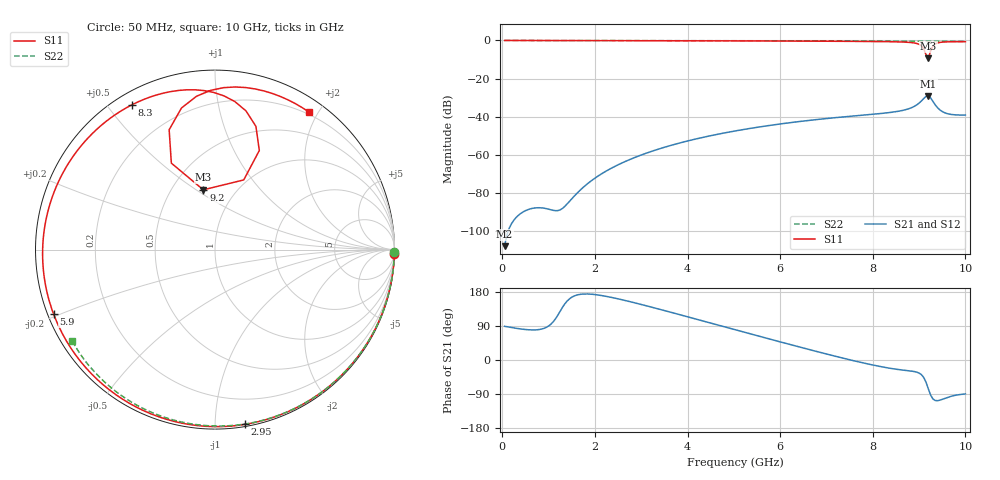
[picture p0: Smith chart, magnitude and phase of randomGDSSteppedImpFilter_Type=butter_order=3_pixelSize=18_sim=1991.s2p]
! freq	dB(S11)	phase(S11)	dB(S12)	phase(S12)
!  dB(S21)	phase(S21)	dB(S22)	phase(S22)
!S-par simulation data
#  GHz  S  DB  R 50
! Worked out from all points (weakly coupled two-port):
!   200 points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, 50 MHz to 10 GHz, reference 50 ohm
!   highest |S21| = -29.08 dB at 9.2 GHz (marker M1); lowest = -107.9 dB at 50 MHz (marker M2)
!   lowest |S11| = -9.4 dB at 9.2 GHz (marker M3), VSWR 2.03, Z = 35.5 + j26.7 ohm
!   |S11| at or under -10 dB: nowhere
!   |S22| runs from -0.5 to 0.0 dB; largest |S21 - S12| = 0
!   S11 on the Smith chart (normalised r, x): 50 MHz: 0, -81; 2.95 GHz: 0.01, -1.19; 5.9 GHz: 0.02, -0.19; 8.3 GHz: 0.05, +0.58; 9.2 GHz: 0.71, +0.53; 10 GHz: 0.17, +1.88
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0.05  -0.00 -1.4  -107.93 88.9  -107.93 88.9  -0.00 -0.9
0.8  -0.03 -22.3  -87.77 80.5  -87.77 80.5  -0.02 -13.6
1.6  -0.06 -44.3  -80.49 171.1  -80.49 171.1  -0.03 -27.1
1.75  -0.06 -48.3  -77.00 174.1  -77.00 174.1  -0.04 -29.6
2.25  -0.08 -61.7  -68.43 167.8  -68.43 167.8  -0.05 -37.8
2.95  -0.10 -80.2  -60.55 148.1  -60.55 148.1  -0.06 -49.0
3.4  -0.12 -91.9  -56.79 133.8  -56.79 133.8  -0.07 -56.1
4.2  -0.16 -112.7  -51.58 107.4  -51.58 107.4  -0.10 -68.4
5.05  -0.21 -134.9  -47.39 79.2  -47.39 79.2  -0.12 -80.9
5.9  -0.28 -158.2  -44.15 51.1  -44.15 51.1  -0.16 -93.0
6.7  -0.36 178.1  -41.74 25.3  -41.74 25.3  -0.20 -104.0
7.55  -0.47 149.6  -39.70 -0.8  -39.70 -0.8  -0.26 -115.4
8.3  -0.63 119.8  -38.00 -20.3  -38.00 -20.3  -0.32 -125.2
8.35  -0.65 117.6  -37.86 -21.4  -37.86 -21.4  -0.32 -125.9
8.8  -1.03 93.9  -35.63 -28.8  -35.63 -28.8  -0.37 -131.7
9.05  -2.81 71.6  -31.74 -38.6  -31.74 -38.6  -0.39 -134.9
9.15  -7.54 67.6  -29.33 -58.7  -29.33 -58.7  -0.40 -136.2
9.2  -9.39 101.1  -29.08 -76.3  -29.08 -76.3  -0.40 -136.9
9.25  -5.36 116.8  -30.19 -92.8  -30.19 -92.8  -0.40 -137.5
9.3  -2.92 110.9  -32.02 -102.8  -32.02 -102.8  -0.41 -138.2
9.45  -1.04 91.6  -36.45 -106.0  -36.45 -106.0  -0.43 -140.2
10  -0.65 55.8  -39.11 -89.5  -39.11 -89.5  -0.50 -147.3
